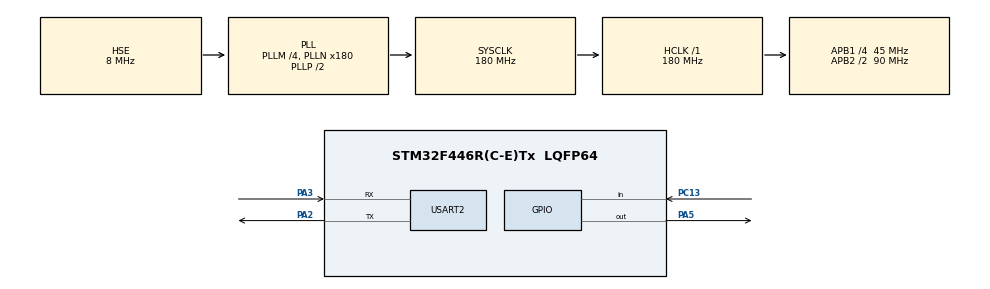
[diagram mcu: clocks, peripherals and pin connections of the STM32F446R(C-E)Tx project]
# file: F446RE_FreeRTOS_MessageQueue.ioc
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FREERTOS.Queues01=messageQueue,10,uint32_t,0,Dynamic,NULL,NULL
FREERTOS.Tasks01=Task1,24,128,StartTask1,Default,NULL,Dynamic,NULL,NULL;Task2,24,128,StartTask2,Default,NULL,Dynamic,NULL,NULL;Task3_UART_TX,25,512,StartTask3,Default,NULL,Dynamic,NULL,NULL
FREERTOS.configUSE_NEWLIB_REENTRANT=1
Mcu.Family=STM32F4
Mcu.Name=STM32F446R(C-E)Tx
Mcu.Package=LQFP64
NVIC.PriorityGroup=NVIC_PRIORITYGROUP_4
NVIC.TIM6_DAC_IRQn=true\:15\:0\:false\:false\:true\:false\:false\:true\:true
NVIC.TimeBase=TIM6_DAC_IRQn
NVIC.TimeBaseIP=TIM6
PA13.Mode=Serial_Wire
PA13.Signal=SYS_JTMS-SWDIO
PA14.Mode=Serial_Wire
PA14.Signal=SYS_JTCK-SWCLK
PA2.Mode=Asynchronous
PA2.Signal=USART2_TX
PA3.Mode=Asynchronous
PA3.Signal=USART2_RX
PA5.Signal=GPIO_Output
PC13.GPIO_PuPd=GPIO_PULLUP
PC13.Signal=GPIO_Input
PH0-OSC_IN.Mode=HSE-External-Oscillator
PH0-OSC_IN.Signal=RCC_OSC_IN
PH1-OSC_OUT.Mode=HSE-External-Oscillator
PH1-OSC_OUT.Signal=RCC_OSC_OUT
ProjectManager.HeapSize=0x200
ProjectManager.StackSize=0x400
ProjectManager.TargetToolchain=STM32CubeIDE
RCC.AHBFreq_Value=180000000
RCC.APB1CLKDivider=RCC_HCLK_DIV4
RCC.APB1Freq_Value=45000000
RCC.APB1TimFreq_Value=90000000
RCC.APB2CLKDivider=RCC_HCLK_DIV2
RCC.APB2Freq_Value=90000000
RCC.APB2TimFreq_Value=180000000
RCC.CortexFreq_Value=180000000
RCC.HCLKFreq_Value=180000000
RCC.HSE_VALUE=8000000
RCC.PLLM=4
RCC.PLLN=180
RCC.PLLSourceVirtual=RCC_PLLSOURCE_HSE
RCC.SYSCLKFreq_VALUE=180000000
RCC.SYSCLKSource=RCC_SYSCLKSOURCE_PLLCLK
RCC.USBFreq_Value=180000000
RCC.VCOOutputFreq_Value=360000000
USART2.VirtualMode=VM_ASYNC
VP_FREERTOS_VS_CMSIS_V2.Mode=CMSIS_V2
VP_SYS_VS_tim6.Mode=TIM6
board=custom

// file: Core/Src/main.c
/* USER CODE BEGIN Header */
/**
  ******************************************************************************
  * @file           : main.c
  * @brief          : Main program body
  ******************************************************************************
  * @attention
  *
  * Copyright (c) 2026 STMicroelectronics.
  * All rights reserved.
  *
  * This software is licensed under terms that can be found in the LICENSE file
  * in the root directory of this software component.
  * If no LICENSE file comes with this software, it is provided AS-IS.
  *
  ******************************************************************************
  */
/* USER CODE END Header */
#include "main.h"
#include "cmsis_os.h"

/* USER CODE BEGIN Includes */

	//Task1 and Task2 will write data to a shared struct and push it to a queue,
	//then task3 will read the data from the queue and send it to pc via uart via printf

	//using Message Queue would prevent Race Condition (data corruption when multiple tasks can access it at the same time)
	//every element/msg in the queue gets its own memory location, so the msg from different tasks dont overwrite each other.
	//Queue is FIFO, but it also has Message Priority feature

	//configs
		//enable User_Button as GPIO input at PC13, use pullup resistor so default pin at high
		//enable UART through STlink, USART2, standard UART config

	//FreeRTOS
		//Default config, 1khz tick rate, newlib reentrant enabled, sys timebase source: TIM6
		//Task1 and Task2 are normal prio, Task3 reads the written data, so it needs to be higher prio than Task1 and 2 st it can read
		//the data without getting preempted and having the data get corrupted (usually we protect shared resources using Mutex or Semaphore,
		//but setting higher prio is simplest) Task3 needs higher stack size because we're using printf (it uses more memory)

	//Queue Config
		//Queue Size: how many elements the queue can hold/ queue capacity
		//Item Size: size of the data/element being stored in the queue. In cubeMX we can only assign standard data type like uint32_t etc.
		//	we are storing a struct as the queue element, which we will implement in this .c, see below

#include "stdio.h"

/* USER CODE END Includes */

UART_HandleTypeDef huart2;

/* Definitions for Task1 */
osThreadId_t Task1Handle;
const osThreadAttr_t Task1_attributes = {
  .name = "Task1",
  .stack_size = 128 * 4,
  .priority = (osPriority_t) osPriorityNormal,
};
/* Definitions for Task2 */
osThreadId_t Task2Handle;
const osThreadAttr_t Task2_attributes = {
  .name = "Task2",
  .stack_size = 128 * 4,
  .priority = (osPriority_t) osPriorityNormal,
};
/* Definitions for Task3_UART_TX */
osThreadId_t Task3_UART_TXHandle;
const osThreadAttr_t Task3_UART_TX_attributes = {
  .name = "Task3_UART_TX",
  .stack_size = 512 * 4,
  .priority = (osPriority_t) osPriorityNormal1,
};
/* Definitions for messageQueue */
osMessageQueueId_t messageQueueHandle;
const osMessageQueueAttr_t messageQueue_attributes = {
  .name = "messageQueue"
};

void SystemClock_Config(void);
static void MX_GPIO_Init(void);
static void MX_USART2_UART_Init(void);
void StartTask1(void *argument);
void StartTask2(void *argument);
void StartTask3(void *argument);

/* USER CODE BEGIN 0 */

//declare the struct to store the data, then go below at the queue creation to manually change the queue element (line 181)
typedef struct {
	uint8_t event_id;			//from which task the struct is created 0x01 for task1 and 0x02 for task2
	uint32_t timestamp;			//
} messageQueue_t;

//Override to redirect printf output through USART2. Every time printf outputs a character, it calls __io_putchar() internally
int __io_putchar(int ch)
{
    HAL_UART_Transmit(&huart2, (uint8_t *)&ch, 1, HAL_MAX_DELAY);
    return ch;
}

/* USER CODE END 0 */

int main(void)
{

  /* MCU Configuration--------------------------------------------------------*/

  /* Reset of all peripherals, Initializes the Flash interface and the Systick. */
  HAL_Init();

  /* Configure the system clock */
  SystemClock_Config();

  /* Initialize all configured peripherals */
  MX_GPIO_Init();
  MX_USART2_UART_Init();

  /* Init scheduler */
  osKernelInitialize();

  /* Create the queue(s) */
  /* creation of messageQueue */
  messageQueueHandle = osMessageQueueNew (10, sizeof(messageQueue_t), &messageQueue_attributes);

  /* Create the thread(s) */
  /* creation of Task1 */
  Task1Handle = osThreadNew(StartTask1, NULL, &Task1_attributes);

  /* creation of Task2 */
  Task2Handle = osThreadNew(StartTask2, NULL, &Task2_attributes);

  /* creation of Task3_UART_TX */
  Task3_UART_TXHandle = osThreadNew(StartTask3, NULL, &Task3_UART_TX_attributes);

  /* Start scheduler */
  osKernelStart();

  /* We should never get here as control is now taken by the scheduler */

  /* Infinite loop */
  while (1)
  {

  }
}

void SystemClock_Config(void)
{
  RCC_OscInitTypeDef RCC_OscInitStruct = {0};
  RCC_ClkInitTypeDef RCC_ClkInitStruct = {0};

  /** Configure the main internal regulator output voltage
  */
  __HAL_RCC_PWR_CLK_ENABLE();
  __HAL_PWR_VOLTAGESCALING_CONFIG(PWR_REGULATOR_VOLTAGE_SCALE1);

  /** Initializes the RCC Oscillators according to the specified parameters
  * in the RCC_OscInitTypeDef structure.
  */
  RCC_OscInitStruct.OscillatorType = RCC_OSCILLATORTYPE_HSE;
  RCC_OscInitStruct.HSEState = RCC_HSE_ON;
  RCC_OscInitStruct.PLL.PLLState = RCC_PLL_ON;
  RCC_OscInitStruct.PLL.PLLSource = RCC_PLLSOURCE_HSE;
  RCC_OscInitStruct.PLL.PLLM = 4;
  RCC_OscInitStruct.PLL.PLLN = 180;
  RCC_OscInitStruct.PLL.PLLP = RCC_PLLP_DIV2;
  RCC_OscInitStruct.PLL.PLLQ = 2;
  RCC_OscInitStruct.PLL.PLLR = 2;
  if (HAL_RCC_OscConfig(&RCC_OscInitStruct) != HAL_OK)
  {
    Error_Handler();
  }

  /** Activate the Over-Drive mode
  */
  if (HAL_PWREx_EnableOverDrive() != HAL_OK)
  {
    Error_Handler();
  }

  /** Initializes the CPU, AHB and APB buses clocks
  */
  RCC_ClkInitStruct.ClockType = RCC_CLOCKTYPE_HCLK|RCC_CLOCKTYPE_SYSCLK
                              |RCC_CLOCKTYPE_PCLK1|RCC_CLOCKTYPE_PCLK2;
  RCC_ClkInitStruct.SYSCLKSource = RCC_SYSCLKSOURCE_PLLCLK;
  RCC_ClkInitStruct.AHBCLKDivider = RCC_SYSCLK_DIV1;
  RCC_ClkInitStruct.APB1CLKDivider = RCC_HCLK_DIV4;
  RCC_ClkInitStruct.APB2CLKDivider = RCC_HCLK_DIV2;

  if (HAL_RCC_ClockConfig(&RCC_ClkInitStruct, FLASH_LATENCY_5) != HAL_OK)
  {
    Error_Handler();
  }
}

static void MX_USART2_UART_Init(void)
{

  huart2.Instance = USART2;
  huart2.Init.BaudRate = 115200;
  huart2.Init.WordLength = UART_WORDLENGTH_8B;
  huart2.Init.StopBits = UART_STOPBITS_1;
  huart2.Init.Parity = UART_PARITY_NONE;
  huart2.Init.Mode = UART_MODE_TX_RX;
  huart2.Init.HwFlowCtl = UART_HWCONTROL_NONE;
  huart2.Init.OverSampling = UART_OVERSAMPLING_16;
  if (HAL_UART_Init(&huart2) != HAL_OK)
  {
    Error_Handler();
  }

}

static void MX_GPIO_Init(void)
{
  GPIO_InitTypeDef GPIO_InitStruct = {0};

  /* GPIO Ports Clock Enable */
  __HAL_RCC_GPIOC_CLK_ENABLE();
  __HAL_RCC_GPIOH_CLK_ENABLE();
  __HAL_RCC_GPIOA_CLK_ENABLE();

  /*Configure GPIO pin Output Level */
  HAL_GPIO_WritePin(GPIOA, GPIO_PIN_5, GPIO_PIN_RESET);

  /*Configure GPIO pin : PC13 */
  GPIO_InitStruct.Pin = GPIO_PIN_13;
  GPIO_InitStruct.Mode = GPIO_MODE_INPUT;
  GPIO_InitStruct.Pull = GPIO_PULLUP;
  HAL_GPIO_Init(GPIOC, &GPIO_InitStruct);

  /*Configure GPIO pin : PA5 */
  GPIO_InitStruct.Pin = GPIO_PIN_5;
  GPIO_InitStruct.Mode = GPIO_MODE_OUTPUT_PP;
  GPIO_InitStruct.Pull = GPIO_NOPULL;
  GPIO_InitStruct.Speed = GPIO_SPEED_FREQ_LOW;
  HAL_GPIO_Init(GPIOA, &GPIO_InitStruct);

}

void StartTask1(void *argument)
{
  /* USER CODE BEGIN 5 */

	//Task 1 monitors the button on pin PC13. When pressed, it loads data into a messageQueue_t structure and pushes it into the queue.
	messageQueue_t msg;

	/* Infinite loop */
	for(;;)
	{
		if (HAL_GPIO_ReadPin(GPIOC, GPIO_PIN_13) == GPIO_PIN_RESET)
		{
			msg.event_id   = 0x01;	//UART can only send ASCII char data type, hexadec 0x01 == uint8_t 1 == char 1
			msg.timestamp = HAL_GetTick();	//in ms, because RTOS tick rate set at 1khz

			//3rd param: message priority =0, no prio
			//4th param: timeout; how long to wait for the queue to be free if its full {0, osDelay(x), osWaitForever}. if timeout, returns error and move on
			osMessageQueuePut(messageQueueHandle, &msg, 0, 0);

			osDelay(200);	//deboucing delay, tho this isnt necessary because the user bt at pc13 is already connected to a lowpass filter, check schematic
		}
		osDelay(20); //small delay like this also helps with not starving other tasks
	}

  /* USER CODE END 5 */
}

void StartTask2(void *argument)
{
  /* USER CODE BEGIN StartTask2 */

	//Task2 automatically sends a message to the queue every second
    messageQueue_t msg;

    /* Infinite loop */
    for (;;)
    {
        msg.event_id   = 0x02;
        msg.timestamp = HAL_GetTick() / 1000; //timestamp in seconds

        //another approach other than the timeout is to check if the queue has space/not full before putting elements in
        if(osMessageQueueGetSpace(Task2Handle)>0)
        {
        	osMessageQueuePut(messageQueueHandle, &msg, 0, 0);
        }

        osDelay(1000);
    }
  /* USER CODE END StartTask2 */
}

void StartTask3(void *argument)
{
  /* USER CODE BEGIN StartTask3 */

	//Task3 reads messages from the queue one at a time and prints them to the serial console

	messageQueue_t msg;

	/* Infinite loop */
	for(;;)
	{
		//It uses osWaitForever so it blocks when the queue is empty and wakes up the moment a new message arrives.
		//check status == osOK before printing. This ensures we only print when the read was successful
		//we can also use if(osMessageQueueGetCount(Task2Handle)>0){...} approach, but it is still good to verify status
		if (osMessageQueueGet(messageQueueHandle, &msg, 0, osWaitForever) == osOK)
		{
			printf ("Event ID: %d, Timestamp: %lu \r\n", msg.event_id, msg.timestamp);
			HAL_GPIO_TogglePin(GPIOA, GPIO_PIN_5);	//blinks when txing
		}
	    osDelay(1);
	}

  /* USER CODE END StartTask3 */
}

void HAL_TIM_PeriodElapsedCallback(TIM_HandleTypeDef *htim)
{
  if (htim->Instance == TIM6)
  {
    HAL_IncTick();
  }
}

void Error_Handler(void)
{
  __disable_irq();
  while (1)
  {
  }
}
